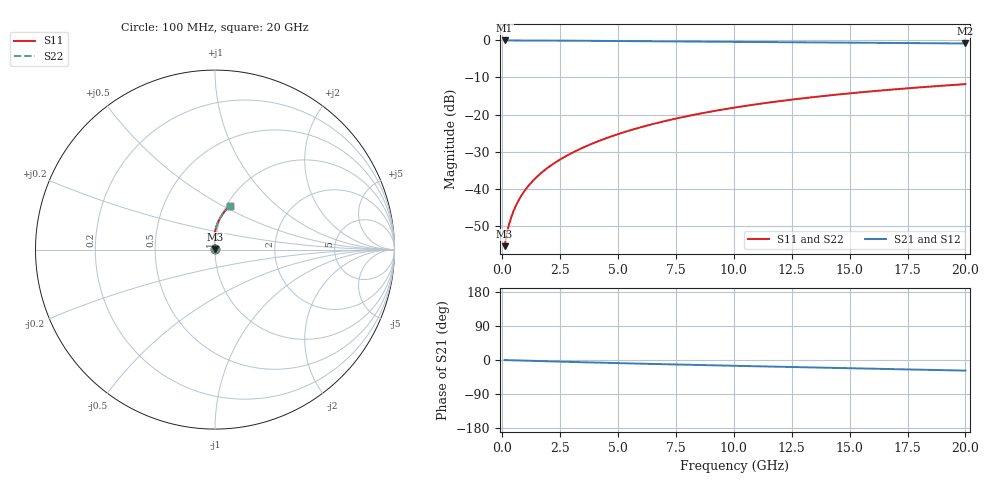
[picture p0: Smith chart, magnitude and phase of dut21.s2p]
! Touchstone file exported from HFSS 2024.1.0
!  File:  C:/UserFiles/LocalFiles/RDL_TSV_Batchsim/temp_RDL_bottom_21_1778691710.aedt
!  Generated:  01:04:22 AM May 14, 2026
!  Design:  RDL_bottom
!  Project:  temp_RDL_bottom_21_1778691710
!  Setup:  Setup1
!  Solution:  Sweep
! Variables:
!  dtsv = 10.80580581um
!  hbump = 3um
!  htsv = 58.68um
!  ldown = 388.17um
!  lrdl = 100um
!  p = 40
!  p1 = 57.74um
!  rhole = 1um
!  t = 450um
!  tdown = 4.41um
!  trdl = 3.915915916um
!  wdown = 29.38um
!  wrdl = 20um
# GHz S MA R 50.000000
! Terminal data exported
! Port[1] = RDL1_T1
! Port[2] = RDL1_T2
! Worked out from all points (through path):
!   200 points, 100 MHz to 20 GHz, reference 50 ohm
!   highest |S21| = -0.01 dB at 100 MHz (marker M1); lowest = -0.8 dB at 20 GHz (marker M2)
!   group delay of S21, straight-line fit = 3.81 ps
!   lowest |S11| = -55.5 dB at 100 MHz (marker M3), VSWR 1.00, Z = 50.1 + j0.109 ohm
!   |S11| at or under -10 dB: start of sweep to end of sweep
!   |S22| runs from -55.5 to -11.8 dB; largest |S21 - S12| = 3.2e-15
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0.1  0.001675 40.3  0.9987 -0.2  0.9987 -0.2  0.001675 40.3
! Gamma 0 0 0 0
! Port Impedance 50 0 50 0
0.2  0.002497 56.8  0.9986 -0.4  0.9986 -0.4  0.002497 56.8
0.3  0.00336 64.8  0.9984 -0.5  0.9984 -0.5  0.00336 64.8
0.4  0.00423 69.8  0.9983 -0.7  0.9983 -0.7  0.00423 69.8
0.5  0.005111 73.4  0.9982 -0.9  0.9982 -0.9  0.005111 73.4
0.6  0.006006 76.1  0.9981 -1.1  0.9981 -1.1  0.006005 76.1
0.8  0.00783 79.9  0.9978 -1.4  0.9978 -1.4  0.00783 79.9
1.1  0.01064 83.6  0.9973 -1.9  0.9973 -1.9  0.01064 83.6
1.5  0.0145 86.7  0.9964 -2.6  0.9964 -2.6  0.0145 86.7
2.1  0.02055 89.5  0.9946 -3.6  0.9946 -3.6  0.02055 89.5
2.7  0.02692 91.2  0.9924 -4.6  0.9924 -4.6  0.02692 91.2
3.5  0.03595 92.6  0.9889 -5.9  0.9889 -5.9  0.03595 92.6
4.2  0.04434 93.1  0.9855 -7.0  0.9855 -7.0  0.04434 93.1
5  0.05442 93.1  0.9814 -8.2  0.9814 -8.2  0.05441 93.1
5.9  0.06627 92.7  0.9766 -9.6  0.9766 -9.6  0.06627 92.7
6.8  0.07854 91.8  0.9719 -10.9  0.9719 -10.9  0.07854 91.8
8.4  0.101 89.7  0.9636 -13.1  0.9636 -13.1  0.101 89.7
10.1  0.1251 87.1  0.9552 -15.4  0.9552 -15.4  0.1251 87.1
11.7  0.1477 84.5  0.9477 -17.5  0.9477 -17.5  0.1477 84.5
13.4  0.1713 81.6  0.9398 -19.7  0.9398 -19.7  0.1713 81.6
16.7  0.2156 76.3  0.9247 -23.9  0.9247 -23.9  0.2155 76.3
20  0.2571 71.3  0.9096 -28.0  0.9096 -28.0  0.2571 71.3
